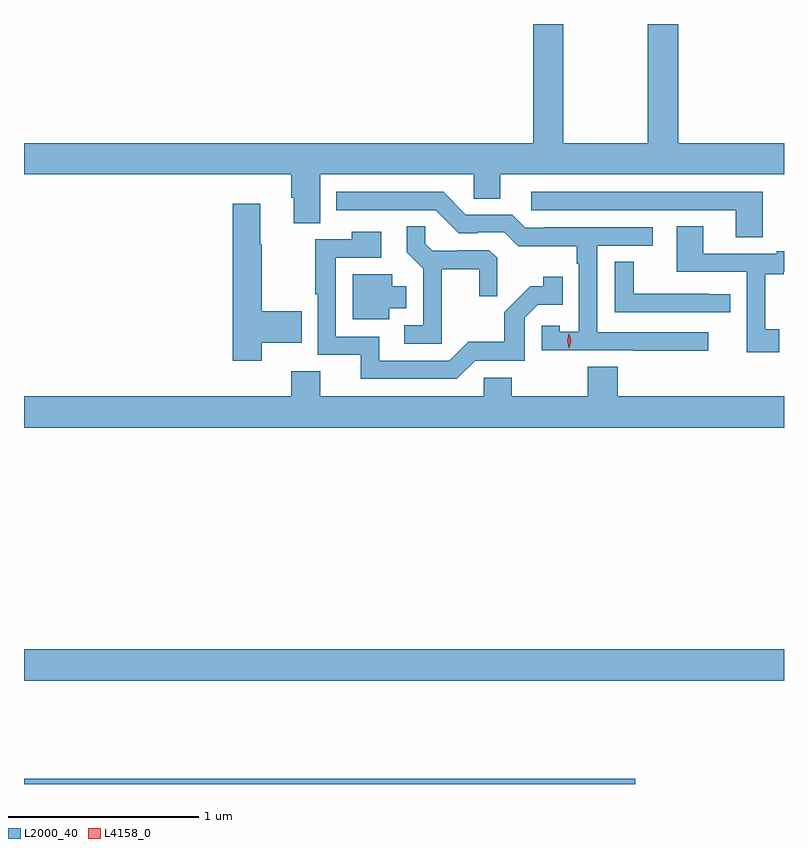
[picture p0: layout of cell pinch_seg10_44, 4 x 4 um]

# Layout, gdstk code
import gdstk
lib = gdstk.Library(unit=1e-6, precision=1e-09)
def R(c, l, rs):  # rectangles x0, y0, x1, y1
    for r in rs: c.add(gdstk.rectangle(r[:2], r[2:], *l))
def P(c, l, *ps):  # polygons
    for p in ps: c.add(gdstk.Polygon(p, *l))
L2000_40 = (2000, 40)
L4158_0 = (4158, 0)

pinch_seg10_44 = lib.new_cell('pinch_seg10_44')
R(pinch_seg10_44, L2000_40, [(880.202,1313.092,883.42,1313.12), (880.202,1313.636,884.202,1313.8)])
P(pinch_seg10_44, L2000_40, [(881.761,1316.3),(882.57,1316.3),(882.57,1316.173),(882.709,1316.173),(882.709,1316.3),(884.202,1316.3),(884.202,1316.464),(883.646,1316.464),(883.646,1317.092),(883.486,1317.092),(883.486,1316.464),(883.041,1316.464),(883.041,1317.092),(882.881,1317.092),(882.881,1316.464),(880.202,1316.464),(880.202,1316.3),(881.609,1316.3),(881.609,1316.178),(881.621,1316.178),(881.621,1316.044),(881.761,1316.044)],
  [(884.089,1316.208),(882.873,1316.208),(882.873,1316.112),(883.949,1316.112),(883.949,1315.969),(884.089,1315.969)],
  [(883.804,1315.47),(883.218,1315.47),(883.218,1315.926),(883.51,1315.926),(883.51,1316.022),(882.94,1316.022),(882.94,1316.019),(882.84,1316.019),(882.771,1316.088),(882.528,1316.088),(882.408,1316.208),(881.846,1316.208),(881.846,1316.112),(882.369,1316.112),(882.489,1315.992),(882.59,1315.992),(882.59,1315.995),(882.729,1315.995),(882.802,1315.922),(883.11,1315.922),(883.11,1315.829),(883.122,1315.829),(883.122,1315.471),(883.023,1315.471),(883.023,1315.503),(882.927,1315.503),(882.927,1315.374),(883.411,1315.374),(883.411,1315.372),(883.804,1315.372)],
  [(881.454,1315.415),(881.663,1315.415),(881.663,1315.581),(881.454,1315.581),(881.454,1315.933),(881.446,1315.933),(881.446,1316.146),(881.3,1316.146),(881.3,1315.32),(881.454,1315.32)],
  [(884.176,1315.485),(884.104,1315.485),(884.104,1315.776),(884.2,1315.776),(884.2,1315.788),(884.202,1315.788),(884.202,1315.897),(884.165,1315.897),(884.165,1315.884),(883.777,1315.884),(883.777,1316.027),(883.637,1316.027),(883.637,1315.788),(884.007,1315.788),(884.007,1315.365),(884.176,1315.365)],
  [(882.401,1315.802),(882.598,1315.802),(882.598,1315.659),(882.692,1315.659),(882.692,1315.861),(882.651,1315.902),(882.486,1315.902),(882.486,1315.899),(882.352,1315.899),(882.315,1315.936),(882.315,1316.027),(882.217,1316.027),(882.217,1315.891),(882.303,1315.805),(882.303,1315.506),(882.204,1315.506),(882.204,1315.41),(882.401,1315.41)],
  [(882.576,1315.32),(882.837,1315.32),(882.837,1315.545),(882.906,1315.614),(883.037,1315.614),(883.037,1315.762),(882.936,1315.762),(882.936,1315.712),(882.866,1315.712),(882.729,1315.574),(882.729,1315.419),(882.54,1315.419),(882.441,1315.32),(882.073,1315.32),(882.073,1315.446),(881.844,1315.446),(881.844,1315.863),(882.082,1315.863),(882.082,1315.999),(881.926,1315.999),(881.926,1315.959),(881.736,1315.959),(881.736,1315.669),(881.748,1315.669),(881.748,1315.35),(881.975,1315.35),(881.975,1315.224),(882.48,1315.224)],
  [(883.918,1315.67),(883.805,1315.67),(883.805,1315.671),(883.41,1315.671),(883.41,1315.841),(883.311,1315.841),(883.311,1315.575),(883.918,1315.575)],
  [(882.124,1315.595),(882.214,1315.595),(882.214,1315.711),(882.139,1315.711),(882.139,1315.774),(881.933,1315.774),(881.933,1315.538),(882.124,1315.538)],
  [(884.202,1315.132),(883.328,1315.132),(883.328,1315.289),(883.168,1315.289),(883.168,1315.132),(882.768,1315.132),(882.768,1315.23),(882.621,1315.23),(882.621,1315.132),(881.761,1315.132),(881.761,1315.265),(881.609,1315.265),(881.609,1315.132),(880.202,1315.132),(880.202,1314.968),(884.202,1314.968)])
P(pinch_seg10_44, L4158_0, [(883.07,1315.389),(883.061,1315.425),(883.07,1315.461),(883.071,1315.461),(883.071,1315.461),(883.081,1315.425),(883.071,1315.389),(883.071,1315.389)])

lib.write_gds('pinch_seg10_44.gds')
